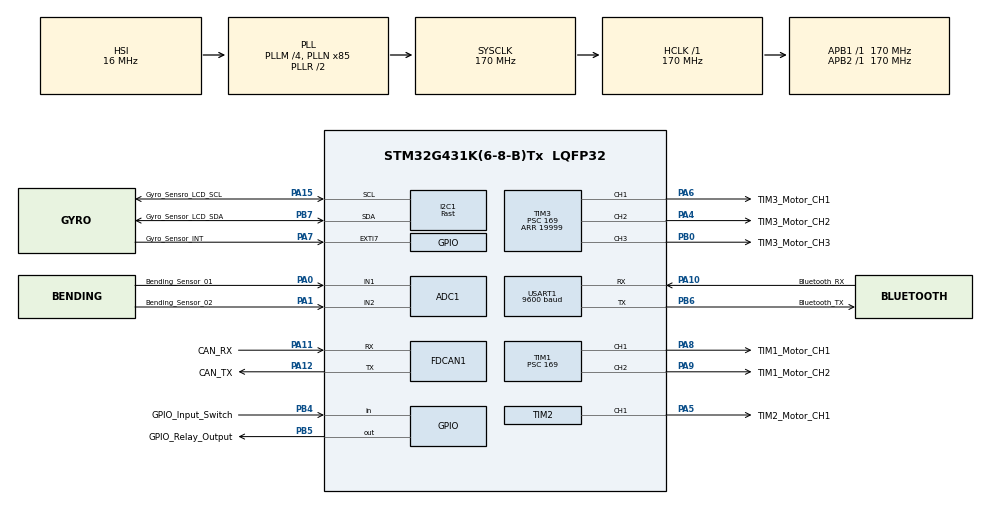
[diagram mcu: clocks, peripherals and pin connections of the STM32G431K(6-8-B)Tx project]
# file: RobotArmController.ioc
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ADC1.Channel-0\#ChannelRegularConversion=ADC_CHANNEL_1
ADC1.Channel-1\#ChannelRegularConversion=ADC_CHANNEL_2
ADC1.ContinuousConvMode=ENABLE
ADC1.DMAContinuousRequests=ENABLE
ADC1.NbrOfConversion=2
ADC1.NbrOfConversionFlag=1
ADC1.OffsetNumber-0\#ChannelRegularConversion=ADC_OFFSET_NONE
ADC1.OffsetNumber-1\#ChannelRegularConversion=ADC_OFFSET_NONE
ADC1.Rank-0\#ChannelRegularConversion=1
ADC1.Rank-1\#ChannelRegularConversion=2
ADC1.SamplingTime-0\#ChannelRegularConversion=ADC_SAMPLETIME_47CYCLES_5
ADC1.SamplingTime-1\#ChannelRegularConversion=ADC_SAMPLETIME_47CYCLES_5
ADC1.master=1
Dma.ADC1.1.Direction=DMA_PERIPH_TO_MEMORY
Dma.ADC1.1.EventEnable=DISABLE
Dma.ADC1.1.Instance=DMA1_Channel2
Dma.ADC1.1.MemDataAlignment=DMA_MDATAALIGN_HALFWORD
Dma.ADC1.1.MemInc=DMA_MINC_ENABLE
Dma.ADC1.1.Mode=DMA_CIRCULAR
Dma.ADC1.1.PeriphDataAlignment=DMA_PDATAALIGN_HALFWORD
Dma.ADC1.1.PeriphInc=DMA_PINC_DISABLE
Dma.ADC1.1.Polarity=HAL_DMAMUX_REQ_GEN_RISING
Dma.ADC1.1.Priority=DMA_PRIORITY_MEDIUM
Dma.ADC1.1.RequestNumber=1
Dma.ADC1.1.SignalID=NONE
Dma.ADC1.1.SyncEnable=DISABLE
Dma.ADC1.1.SyncPolarity=HAL_DMAMUX_SYNC_NO_EVENT
Dma.ADC1.1.SyncRequestNumber=1
Dma.ADC1.1.SyncSignalID=NONE
Dma.I2C1_RX.0.Direction=DMA_PERIPH_TO_MEMORY
Dma.I2C1_RX.0.EventEnable=DISABLE
Dma.I2C1_RX.0.Instance=DMA1_Channel1
Dma.I2C1_RX.0.MemDataAlignment=DMA_MDATAALIGN_BYTE
Dma.I2C1_RX.0.MemInc=DMA_MINC_ENABLE
Dma.I2C1_RX.0.Mode=DMA_NORMAL
Dma.I2C1_RX.0.PeriphDataAlignment=DMA_PDATAALIGN_BYTE
Dma.I2C1_RX.0.PeriphInc=DMA_PINC_DISABLE
Dma.I2C1_RX.0.Polarity=HAL_DMAMUX_REQ_GEN_RISING
Dma.I2C1_RX.0.Priority=DMA_PRIORITY_MEDIUM
Dma.I2C1_RX.0.RequestNumber=1
Dma.I2C1_RX.0.SignalID=NONE
Dma.I2C1_RX.0.SyncEnable=DISABLE
Dma.I2C1_RX.0.SyncPolarity=HAL_DMAMUX_SYNC_NO_EVENT
Dma.I2C1_RX.0.SyncRequestNumber=1
Dma.I2C1_RX.0.SyncSignalID=NONE
Dma.Request0=I2C1_RX
Dma.Request1=ADC1
FDCAN1.AutoRetransmission=ENABLE
FDCAN1.CalculateBaudRateNominal=500000
FDCAN1.CalculateTimeBitNominal=2000
FDCAN1.CalculateTimeQuantumNominal=100.0
FDCAN1.NominalPrescaler=17
FDCAN1.NominalTimeSeg1=9
FDCAN1.NominalTimeSeg2=10
FDCAN1.StdFiltersNbr=2
FREERTOS.BinarySemaphores01=CAN_Sem,Dynamic,NULL,Available;LCD_Sem,Dynamic,NULL,Available;Gyro_Sem,Dynamic,NULL,Available
FREERTOS.INCLUDE_pcTaskGetTaskName=1
FREERTOS.INCLUDE_xSemaphoreGetMutexHolder=1
FREERTOS.Queues01=CAN_Queue,16,uint16_t,0,Dynamic,NULL,NULL;BT_Queue,16,uint16_t,0,Dynamic,NULL,NULL
FREERTOS.Tasks01=defaultTask,24,128,StartDefaultTask,Default,NULL,Dynamic,NULL,NULL;Comm_Task,32,256,StartCommTask,Default,NULL,Dynamic,NULL,NULL;Servo_Task,24,256,StartServoTask,Default,NULL,Dynamic,NULL,NULL;LCD_Task,16,256,StartLCDTask04,Default,NULL,Dynamic,NULL,NULL;Mode_Task,32,128,StartModeTask,Default,NULL,Dynamic,NULL,NULL
FREERTOS.Timers01=TimerOnce,TimerOnce_Callback,osTimerOnce,Default,NULL,Dynamic,NULL;Timer10ms,Timer10ms_Callback,osTimerPeriodic,Default,NULL,Dynamic,NULL;Timer100ms,Timer100ms_Callback,osTimerPeriodic,Default,NULL,Dynamic,NULL
FREERTOS.configCHECK_FOR_STACK_OVERFLOW=2
FREERTOS.configENABLE_FPU=1
FREERTOS.configTOTAL_HEAP_SIZE=8192
FREERTOS.configUSE_NEWLIB_REENTRANT=1
I2C1.I2C_Speed_Mode=I2C_Fast
I2C1.Timing=0x40621236
Mcu.Family=STM32G4
Mcu.Name=STM32G431K(6-8-B)Tx
Mcu.Package=LQFP32
NUCLEO-G431KB.LD2=true
NUCLEO-G431KB.VCP=true
NVIC.ADC1_2_IRQn=true\:5\:0\:false\:false\:true\:true\:true\:true\:true
NVIC.DMA1_Channel1_IRQn=true\:5\:0\:false\:false\:true\:true\:false\:true\:true
NVIC.DMA1_Channel2_IRQn=true\:5\:0\:false\:false\:true\:true\:false\:true\:true
NVIC.EXTI9_5_IRQn=true\:5\:0\:false\:false\:true\:true\:true\:true\:true
NVIC.FDCAN1_IT0_IRQn=true\:5\:0\:false\:false\:true\:true\:true\:true\:true
NVIC.FDCAN1_IT1_IRQn=true\:5\:0\:false\:false\:true\:true\:true\:true\:true
NVIC.I2C1_ER_IRQn=true\:5\:0\:false\:false\:true\:true\:true\:true\:true
NVIC.I2C1_EV_IRQn=true\:5\:0\:false\:false\:true\:true\:true\:true\:true
NVIC.PriorityGroup=NVIC_PRIORITYGROUP_4
NVIC.TIM4_IRQn=true\:15\:0\:false\:false\:true\:false\:false\:true\:true
NVIC.TimeBase=TIM4_IRQn
NVIC.TimeBaseIP=TIM4
NVIC.USART1_IRQn=true\:5\:0\:false\:false\:true\:true\:true\:true\:true
PA0.GPIO_Label=Bending_Sensor_01
PA0.Mode=IN1-Single-Ended
PA0.Signal=ADC1_IN1
PA1.GPIO_Label=Bending_Sensor_02
PA1.Mode=IN2-Single-Ended
PA1.Signal=ADC1_IN2
PA10.GPIO_Label=Bluetooth_RX
PA10.Mode=Asynchronous
PA10.Signal=USART1_RX
PA11.GPIO_Label=CAN_RX
PA11.Mode=FDCAN_Activate
PA11.Signal=FDCAN1_RX
PA12.GPIO_Label=CAN_TX
PA12.Mode=FDCAN_Activate
PA12.Signal=FDCAN1_TX
PA13.GPIO_Label=T_SWDIO
PA13.Mode=Serial_Wire
PA13.Signal=SYS_JTMS-SWDIO
PA14.GPIO_Label=T_SWCLK
PA14.Mode=Serial_Wire
PA14.Signal=SYS_JTCK-SWCLK
PA15.GPIO_Label=Gyro_Sensro_LCD_SCL
PA15.Mode=I2C
PA15.Signal=I2C1_SCL
PA2.Signal=USART2_TX
PA3.Signal=USART2_RX
PA4.GPIO_Label=TIM3_Motor_CH2
PA4.Signal=S_TIM3_CH2
PA5.GPIO_Label=TIM2_Motor_CH1
PA5.Signal=S_TIM2_CH1
PA6.GPIO_Label=TIM3_Motor_CH1
PA6.Signal=S_TIM3_CH1
PA7.GPIO_Label=Gyro_Sensor_INT
PA7.GPIO_ModeDefaultEXTI=GPIO_MODE_IT_RISING
PA7.GPIO_PuPd=GPIO_NOPULL
PA7.Signal=GPXTI7
PA8.GPIO_Label=TIM1_Motor_CH1
PA8.Signal=S_TIM1_CH1
PA9.GPIO_Label=TIM1_Motor_CH2
PA9.Signal=S_TIM1_CH2
PB0.GPIO_Label=TIM3_Motor_CH3
PB0.Signal=S_TIM3_CH3
PB3.GPIO_Label=T_SWO
PB3.Signal=SYS_JTDO-SWO
PB4.GPIO_Label=GPIO_Input_Switch
PB4.GPIO_PuPd=GPIO_PULLUP
PB4.Signal=GPIO_Input
PB5.GPIO_Label=GPIO_Relay_Output
PB5.GPIO_PuPd=GPIO_NOPULL
PB5.GPIO_Speed=GPIO_SPEED_FREQ_LOW
PB5.Signal=GPIO_Output
PB6.GPIO_Label=Bluetooth_TX
PB6.Mode=Asynchronous
PB6.Signal=USART1_TX
PB7.GPIO_Label=Gyro_Sensor_LCD_SDA
PB7.Mode=I2C
PB7.Signal=I2C1_SDA
PF0-OSC_IN.GPIO_Label=Clock_Timing_IN
PF0-OSC_IN.Mode=HSE-External-Oscillator
PF0-OSC_IN.Signal=RCC_OSC_IN
PF1-OSC_OUT.GPIO_Label=Clock_Timing_OUT
PF1-OSC_OUT.Mode=HSE-External-Oscillator
PF1-OSC_OUT.Signal=RCC_OSC_OUT
ProjectManager.HeapSize=0x200
ProjectManager.StackSize=0x400
ProjectManager.TargetToolchain=STM32CubeIDE
RCC.ADC12Freq_Value=170000000
RCC.AHBFreq_Value=170000000
RCC.APB1Freq_Value=170000000
RCC.APB1TimFreq_Value=170000000
RCC.APB2Freq_Value=170000000
RCC.APB2TimFreq_Value=170000000
RCC.CortexFreq_Value=170000000
RCC.EXTERNAL_CLOCK_VALUE=12288000
RCC.HCLKFreq_Value=170000000
RCC.HSE_VALUE=8000000
RCC.HSI48_VALUE=48000000
RCC.HSI_VALUE=16000000
RCC.LSE_VALUE=32768
RCC.PLLM=RCC_PLLM_DIV4
RCC.PLLN=85
RCC.PREFETCH_ENABLE=1
RCC.SYSCLKFreq_VALUE=170000000
RCC.SYSCLKSource=RCC_SYSCLKSOURCE_PLLCLK
RCC.USBFreq_Value=170000000
RCC.VCOOutputFreq_Value=340000000
SH.S_TIM1_CH1.0=TIM1_CH1,PWM Generation1 CH1
SH.S_TIM1_CH2.0=TIM1_CH2,PWM Generation2 CH2
SH.S_TIM2_CH1.0=TIM2_CH1,PWM Generation1 CH1
SH.S_TIM3_CH1.0=TIM3_CH1,PWM Generation1 CH1
SH.S_TIM3_CH2.0=TIM3_CH2,PWM Generation2 CH2
SH.S_TIM3_CH3.0=TIM3_CH3,PWM Generation3 CH3
TIM1.Channel-PWM\ Generation1\ CH1=TIM_CHANNEL_1
TIM1.Channel-PWM\ Generation2\ CH2=TIM_CHANNEL_2
TIM1.PeriodNoDither=19999
TIM1.Prescaler=169
TIM1.PulseNoDither_1=1500
TIM1.PulseNoDither_2=1500
TIM2.Channel-PWM\ Generation1\ CH1=TIM_CHANNEL_1
TIM2.PeriodNoDither=19999
TIM2.Prescaler=169
TIM2.PulseNoDither_1=1500
TIM3.Channel-PWM\ Generation1\ CH1=TIM_CHANNEL_1
TIM3.Channel-PWM\ Generation2\ CH2=TIM_CHANNEL_2
TIM3.Channel-PWM\ Generation3\ CH3=TIM_CHANNEL_3
TIM3.PeriodNoDither=19999
TIM3.Prescaler=169
TIM3.PulseNoDither_1=1500
TIM3.PulseNoDither_2=1500
TIM3.PulseNoDither_3=1500
USART1.BaudRate=9600
USART1.VirtualMode-Asynchronous=VM_ASYNC
VP_FREERTOS_VS_CMSIS_V2.Mode=CMSIS_V2
VP_NUCLEO-G431KB_VS_BSP_COMMON.Mode=COMMON
VP_SYS_VS_DBSignals.Mode=DisableDeadBatterySignals
VP_SYS_VS_tim4.Mode=TIM4
board=NUCLEO-G431KB

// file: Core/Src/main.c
/* USER CODE BEGIN Header */
/**
  ******************************************************************************
  * @file           : main.c
  * @brief          : Main program body
  ******************************************************************************
  * @attention
  *
  * Copyright (c) 2026 STMicroelectronics.
  * All rights reserved.
  *
  * This software is licensed under terms that can be found in the LICENSE file
  * in the root directory of this software component.
  * If no LICENSE file comes with this software, it is provided AS-IS.
  *
  ******************************************************************************
  */
/* USER CODE END Header */
#include "main.h"
#include "cmsis_os.h"

/* USER CODE BEGIN Includes */
#include "comm_can.h"
#include "comm_can_controller.h"
#include "comm_can_robot.h"
#include "readSensor.h"
#include "bt_comm.h"
#include "Comm_Power_Select.h"
#include "debug_comm.h"     /* 릴레이 없이 CAN/BT 테스트 시 사용 (DEBUG_COMM_ENABLE 참고) */
/* USER CODE END Includes */

COM_InitTypeDef BspCOMInit;

ADC_HandleTypeDef hadc1;
DMA_HandleTypeDef hdma_adc1;

FDCAN_HandleTypeDef hfdcan1;

I2C_HandleTypeDef hi2c1;
DMA_HandleTypeDef hdma_i2c1_rx;

TIM_HandleTypeDef htim1;
TIM_HandleTypeDef htim2;
TIM_HandleTypeDef htim3;

UART_HandleTypeDef huart1;

/* Definitions for defaultTask */
osThreadId_t defaultTaskHandle;
const osThreadAttr_t defaultTask_attributes = {
  .name = "defaultTask",
  .priority = (osPriority_t) osPriorityNormal,
  .stack_size = 128 * 4
};
/* Definitions for Comm_Task */
osThreadId_t Comm_TaskHandle;
const osThreadAttr_t Comm_Task_attributes = {
  .name = "Comm_Task",
  .priority = (osPriority_t) osPriorityAboveNormal,
  .stack_size = 256 * 4
};
/* Definitions for Servo_Task */
osThreadId_t Servo_TaskHandle;
const osThreadAttr_t Servo_Task_attributes = {
  .name = "Servo_Task",
  .priority = (osPriority_t) osPriorityNormal,
  .stack_size = 256 * 4
};
/* Definitions for LCD_Task */
osThreadId_t LCD_TaskHandle;
const osThreadAttr_t LCD_Task_attributes = {
  .name = "LCD_Task",
  .priority = (osPriority_t) osPriorityBelowNormal,
  .stack_size = 256 * 4
};
/* Definitions for Mode_Task */
osThreadId_t Mode_TaskHandle;
const osThreadAttr_t Mode_Task_attributes = {
  .name = "Mode_Task",
  .priority = (osPriority_t) osPriorityAboveNormal,
  .stack_size = 512 * 4
};
/* Definitions for CAN_Queue */
osMessageQueueId_t CAN_QueueHandle;
const osMessageQueueAttr_t CAN_Queue_attributes = {
  .name = "CAN_Queue"
};
/* Definitions for BT_Queue */
osMessageQueueId_t BT_QueueHandle;
const osMessageQueueAttr_t BT_Queue_attributes = {
  .name = "BT_Queue"
};
/* Definitions for TimerOnce */
osTimerId_t TimerOnceHandle;
const osTimerAttr_t TimerOnce_attributes = {
  .name = "TimerOnce"
};
/* Definitions for Timer10ms */
osTimerId_t Timer10msHandle;
const osTimerAttr_t Timer10ms_attributes = {
  .name = "Timer10ms"
};
/* Definitions for Timer100ms */
osTimerId_t Timer100msHandle;
const osTimerAttr_t Timer100ms_attributes = {
  .name = "Timer100ms"
};
/* Definitions for CAN_Sem */
osSemaphoreId_t CAN_SemHandle;
const osSemaphoreAttr_t CAN_Sem_attributes = {
  .name = "CAN_Sem"
};
/* Definitions for LCD_Sem */
osSemaphoreId_t LCD_SemHandle;
const osSemaphoreAttr_t LCD_Sem_attributes = {
  .name = "LCD_Sem"
};
/* Definitions for Gyro_Sem */
osSemaphoreId_t Gyro_SemHandle;
const osSemaphoreAttr_t Gyro_Sem_attributes = {
  .name = "Gyro_Sem"
};

void SystemClock_Config(void);
static void MX_GPIO_Init(void);
static void MX_DMA_Init(void);
static void MX_FDCAN1_Init(void);
static void MX_I2C1_Init(void);
static void MX_ADC1_Init(void);
static void MX_USART1_UART_Init(void);
static void MX_TIM1_Init(void);
static void MX_TIM2_Init(void);
static void MX_TIM3_Init(void);
void StartDefaultTask(void *argument);
void StartCommTask(void *argument);
void StartServoTask(void *argument);
void StartLCDTask04(void *argument);
void StartModeTask(void *argument);
void TimerOnce_Callback(void *argument);
void Timer10ms_Callback(void *argument);
void Timer100ms_Callback(void *argument);

int main(void)
{

  /* MCU Configuration--------------------------------------------------------*/

  /* Reset of all peripherals, Initializes the Flash interface and the Systick. */
  HAL_Init();

  /* Configure the system clock */
  SystemClock_Config();

  /* Initialize all configured peripherals */
  MX_GPIO_Init();
  MX_DMA_Init();
  MX_FDCAN1_Init();
  MX_I2C1_Init();
  MX_ADC1_Init();
  MX_USART1_UART_Init();
  MX_TIM1_Init();
  MX_TIM2_Init();
  MX_TIM3_Init();
  /* USER CODE BEGIN 2 */
  /* ── 통신 초기화: 아래 둘 중 하나만 활성화 ──────────────
     [실사용]  릴레이 하드웨어 연결 시
               CommPowerSelect_Init();
     [디버그]  릴레이 없이 CAN/BT 직접 테스트 시
               debug_comm.h에서 DEBUG_COMM_MODE 설정 후 사용
               Debug_Comm_Init();
     ──────────────────────────────────────────────────── */
#if (DEBUG_COMM_ENABLE)
  Debug_Comm_Init();
#else
  CommPowerSelect_Init();
#endif

  ReadSensor_Init();      // ADC DMA 시작, 센서 초기화 (통신 초기화 완료 후 마지막)
  /* USER CODE END 2 */

  /* Init scheduler */
  osKernelInitialize();

  /* Create the semaphores(s) */
  /* creation of CAN_Sem */
  CAN_SemHandle = osSemaphoreNew(1, 1, &CAN_Sem_attributes);

  /* creation of LCD_Sem */
  LCD_SemHandle = osSemaphoreNew(1, 1, &LCD_Sem_attributes);

  /* creation of Gyro_Sem */
  Gyro_SemHandle = osSemaphoreNew(1, 1, &Gyro_Sem_attributes);

  /* Create the timer(s) */
  /* creation of TimerOnce */
  TimerOnceHandle = osTimerNew(TimerOnce_Callback, osTimerOnce, NULL, &TimerOnce_attributes);

  /* creation of Timer10ms */
  Timer10msHandle = osTimerNew(Timer10ms_Callback, osTimerPeriodic, NULL, &Timer10ms_attributes);

  /* creation of Timer100ms */
  Timer100msHandle = osTimerNew(Timer100ms_Callback, osTimerPeriodic, NULL, &Timer100ms_attributes);

  /* USER CODE BEGIN RTOS_TIMERS */
  // TimerOnce: CommPowerSelect_ButtonPressed()에서 디바운스 시 직접 시작
  osTimerStart(Timer10msHandle,  10);   // 10ms 주기 → CAN_Sem → Comm_Task
  osTimerStart(Timer100msHandle, 100);  // 100ms 주기 → LCD_Sem → LCD_Task
  /* USER CODE END RTOS_TIMERS */

  /* Create the queue(s) */
  /* creation of CAN_Queue */
  CAN_QueueHandle = osMessageQueueNew (16, sizeof(uint16_t), &CAN_Queue_attributes);

  /* creation of BT_Queue */
  BT_QueueHandle = osMessageQueueNew (16, sizeof(uint16_t), &BT_Queue_attributes);

  /* Create the thread(s) */
  /* creation of defaultTask */
  defaultTaskHandle = osThreadNew(StartDefaultTask, NULL, &defaultTask_attributes);

  /* creation of Comm_Task */
  Comm_TaskHandle = osThreadNew(StartCommTask, NULL, &Comm_Task_attributes);

  /* creation of Servo_Task */
  Servo_TaskHandle = osThreadNew(StartServoTask, NULL, &Servo_Task_attributes);

  /* creation of LCD_Task */
  LCD_TaskHandle = osThreadNew(StartLCDTask04, NULL, &LCD_Task_attributes);

  /* creation of Mode_Task */
  Mode_TaskHandle = osThreadNew(StartModeTask, NULL, &Mode_Task_attributes);

  /* Initialize leds */
  BSP_LED_Init(LED_GREEN);

  /* Initialize COM1 port (115200, 8 bits (7-bit data + 1 stop bit), no parity */
  BspCOMInit.BaudRate   = 115200;
  BspCOMInit.WordLength = COM_WORDLENGTH_8B;
  BspCOMInit.StopBits   = COM_STOPBITS_1;
  BspCOMInit.Parity     = COM_PARITY_NONE;
  BspCOMInit.HwFlowCtl  = COM_HWCONTROL_NONE;
  if (BSP_COM_Init(COM1, &BspCOMInit) != BSP_ERROR_NONE)
  {
    Error_Handler();
  }

  /* Start scheduler */
  osKernelStart();

  /* We should never get here as control is now taken by the scheduler */

  /* Infinite loop */
  while (1)
  {

  }
}

void SystemClock_Config(void)
{
  RCC_OscInitTypeDef RCC_OscInitStruct = {0};
  RCC_ClkInitTypeDef RCC_ClkInitStruct = {0};

  /** Configure the main internal regulator output voltage
  */
  HAL_PWREx_ControlVoltageScaling(PWR_REGULATOR_VOLTAGE_SCALE1_BOOST);

  /** Initializes the RCC Oscillators according to the specified parameters
  * in the RCC_OscInitTypeDef structure.
  */
  RCC_OscInitStruct.OscillatorType = RCC_OSCILLATORTYPE_HSI;
  RCC_OscInitStruct.HSIState = RCC_HSI_ON;
  RCC_OscInitStruct.HSICalibrationValue = RCC_HSICALIBRATION_DEFAULT;
  RCC_OscInitStruct.PLL.PLLState = RCC_PLL_ON;
  RCC_OscInitStruct.PLL.PLLSource = RCC_PLLSOURCE_HSI;
  RCC_OscInitStruct.PLL.PLLM = RCC_PLLM_DIV4;
  RCC_OscInitStruct.PLL.PLLN = 85;
  RCC_OscInitStruct.PLL.PLLP = RCC_PLLP_DIV2;
  RCC_OscInitStruct.PLL.PLLQ = RCC_PLLQ_DIV2;
  RCC_OscInitStruct.PLL.PLLR = RCC_PLLR_DIV2;
  if (HAL_RCC_OscConfig(&RCC_OscInitStruct) != HAL_OK)
  {
    Error_Handler();
  }

  /** Initializes the CPU, AHB and APB buses clocks
  */
  RCC_ClkInitStruct.ClockType = RCC_CLOCKTYPE_HCLK|RCC_CLOCKTYPE_SYSCLK
                              |RCC_CLOCKTYPE_PCLK1|RCC_CLOCKTYPE_PCLK2;
  RCC_ClkInitStruct.SYSCLKSource = RCC_SYSCLKSOURCE_PLLCLK;
  RCC_ClkInitStruct.AHBCLKDivider = RCC_SYSCLK_DIV1;
  RCC_ClkInitStruct.APB1CLKDivider = RCC_HCLK_DIV1;
  RCC_ClkInitStruct.APB2CLKDivider = RCC_HCLK_DIV1;

  if (HAL_RCC_ClockConfig(&RCC_ClkInitStruct, FLASH_LATENCY_4) != HAL_OK)
  {
    Error_Handler();
  }
}

static void MX_ADC1_Init(void)
{

  ADC_MultiModeTypeDef multimode = {0};
  ADC_ChannelConfTypeDef sConfig = {0};

  /** Common config
  */
  hadc1.Instance = ADC1;
  hadc1.Init.ClockPrescaler = ADC_CLOCK_SYNC_PCLK_DIV4;
  hadc1.Init.Resolution = ADC_RESOLUTION_12B;
  hadc1.Init.DataAlign = ADC_DATAALIGN_RIGHT;
  hadc1.Init.GainCompensation = 0;
  hadc1.Init.ScanConvMode = ADC_SCAN_ENABLE;
  hadc1.Init.EOCSelection = ADC_EOC_SINGLE_CONV;
  hadc1.Init.LowPowerAutoWait = DISABLE;
  hadc1.Init.ContinuousConvMode = ENABLE;
  hadc1.Init.NbrOfConversion = 2;
  hadc1.Init.DiscontinuousConvMode = DISABLE;
  hadc1.Init.ExternalTrigConv = ADC_SOFTWARE_START;
  hadc1.Init.ExternalTrigConvEdge = ADC_EXTERNALTRIGCONVEDGE_NONE;
  hadc1.Init.DMAContinuousRequests = ENABLE;
  hadc1.Init.Overrun = ADC_OVR_DATA_PRESERVED;
  hadc1.Init.OversamplingMode = DISABLE;
  if (HAL_ADC_Init(&hadc1) != HAL_OK)
  {
    Error_Handler();
  }

  /** Configure the ADC multi-mode
  */
  multimode.Mode = ADC_MODE_INDEPENDENT;
  if (HAL_ADCEx_MultiModeConfigChannel(&hadc1, &multimode) != HAL_OK)
  {
    Error_Handler();
  }

  /** Configure Regular Channel
  */
  sConfig.Channel = ADC_CHANNEL_1;
  sConfig.Rank = ADC_REGULAR_RANK_1;
  sConfig.SamplingTime = ADC_SAMPLETIME_47CYCLES_5;
  sConfig.SingleDiff = ADC_SINGLE_ENDED;
  sConfig.OffsetNumber = ADC_OFFSET_NONE;
  sConfig.Offset = 0;
  if (HAL_ADC_ConfigChannel(&hadc1, &sConfig) != HAL_OK)
  {
    Error_Handler();
  }

  /** Configure Regular Channel
  */
  sConfig.Channel = ADC_CHANNEL_2;
  sConfig.Rank = ADC_REGULAR_RANK_2;
  if (HAL_ADC_ConfigChannel(&hadc1, &sConfig) != HAL_OK)
  {
    Error_Handler();
  }

}

static void MX_FDCAN1_Init(void)
{

  hfdcan1.Instance = FDCAN1;
  hfdcan1.Init.ClockDivider = FDCAN_CLOCK_DIV1;
  hfdcan1.Init.FrameFormat = FDCAN_FRAME_CLASSIC;
  hfdcan1.Init.Mode = FDCAN_MODE_NORMAL;
  hfdcan1.Init.AutoRetransmission = ENABLE;
  hfdcan1.Init.TransmitPause = DISABLE;
  hfdcan1.Init.ProtocolException = DISABLE;
  hfdcan1.Init.NominalPrescaler = 17;
  hfdcan1.Init.NominalSyncJumpWidth = 1;
  hfdcan1.Init.NominalTimeSeg1 = 9;
  hfdcan1.Init.NominalTimeSeg2 = 10;
  hfdcan1.Init.DataPrescaler = 1;
  hfdcan1.Init.DataSyncJumpWidth = 1;
  hfdcan1.Init.DataTimeSeg1 = 1;
  hfdcan1.Init.DataTimeSeg2 = 1;
  hfdcan1.Init.StdFiltersNbr = 2;
  hfdcan1.Init.ExtFiltersNbr = 0;
  hfdcan1.Init.TxFifoQueueMode = FDCAN_TX_FIFO_OPERATION;
  if (HAL_FDCAN_Init(&hfdcan1) != HAL_OK)
  {
    Error_Handler();
  }

}

static void MX_I2C1_Init(void)
{

  hi2c1.Instance = I2C1;
  hi2c1.Init.Timing = 0x40621236;
  hi2c1.Init.OwnAddress1 = 0;
  hi2c1.Init.AddressingMode = I2C_ADDRESSINGMODE_7BIT;
  hi2c1.Init.DualAddressMode = I2C_DUALADDRESS_DISABLE;
  hi2c1.Init.OwnAddress2 = 0;
  hi2c1.Init.OwnAddress2Masks = I2C_OA2_NOMASK;
  hi2c1.Init.GeneralCallMode = I2C_GENERALCALL_DISABLE;
  hi2c1.Init.NoStretchMode = I2C_NOSTRETCH_DISABLE;
  if (HAL_I2C_Init(&hi2c1) != HAL_OK)
  {
    Error_Handler();
  }

  /** Configure Analogue filter
  */
  if (HAL_I2CEx_ConfigAnalogFilter(&hi2c1, I2C_ANALOGFILTER_ENABLE) != HAL_OK)
  {
    Error_Handler();
  }

  /** Configure Digital filter
  */
  if (HAL_I2CEx_ConfigDigitalFilter(&hi2c1, 0) != HAL_OK)
  {
    Error_Handler();
  }

}

static void MX_TIM1_Init(void)
{

  TIM_MasterConfigTypeDef sMasterConfig = {0};
  TIM_OC_InitTypeDef sConfigOC = {0};
  TIM_BreakDeadTimeConfigTypeDef sBreakDeadTimeConfig = {0};

  htim1.Instance = TIM1;
  htim1.Init.Prescaler = 169;
  htim1.Init.CounterMode = TIM_COUNTERMODE_UP;
  htim1.Init.Period = 19999;
  htim1.Init.ClockDivision = TIM_CLOCKDIVISION_DIV1;
  htim1.Init.RepetitionCounter = 0;
  htim1.Init.AutoReloadPreload = TIM_AUTORELOAD_PRELOAD_DISABLE;
  if (HAL_TIM_PWM_Init(&htim1) != HAL_OK)
  {
    Error_Handler();
  }
  sMasterConfig.MasterOutputTrigger = TIM_TRGO_RESET;
  sMasterConfig.MasterOutputTrigger2 = TIM_TRGO2_RESET;
  sMasterConfig.MasterSlaveMode = TIM_MASTERSLAVEMODE_DISABLE;
  if (HAL_TIMEx_MasterConfigSynchronization(&htim1, &sMasterConfig) != HAL_OK)
  {
    Error_Handler();
  }
  sConfigOC.OCMode = TIM_OCMODE_PWM1;
  sConfigOC.Pulse = 1500;
  sConfigOC.OCPolarity = TIM_OCPOLARITY_HIGH;
  sConfigOC.OCNPolarity = TIM_OCNPOLARITY_HIGH;
  sConfigOC.OCFastMode = TIM_OCFAST_DISABLE;
  sConfigOC.OCIdleState = TIM_OCIDLESTATE_RESET;
  sConfigOC.OCNIdleState = TIM_OCNIDLESTATE_RESET;
  if (HAL_TIM_PWM_ConfigChannel(&htim1, &sConfigOC, TIM_CHANNEL_1) != HAL_OK)
  {
    Error_Handler();
  }
  if (HAL_TIM_PWM_ConfigChannel(&htim1, &sConfigOC, TIM_CHANNEL_2) != HAL_OK)
  {
    Error_Handler();
  }
  sBreakDeadTimeConfig.OffStateRunMode = TIM_OSSR_DISABLE;
  sBreakDeadTimeConfig.OffStateIDLEMode = TIM_OSSI_DISABLE;
  sBreakDeadTimeConfig.LockLevel = TIM_LOCKLEVEL_OFF;
  sBreakDeadTimeConfig.DeadTime = 0;
  sBreakDeadTimeConfig.BreakState = TIM_BREAK_DISABLE;
  sBreakDeadTimeConfig.BreakPolarity = TIM_BREAKPOLARITY_HIGH;
  sBreakDeadTimeConfig.BreakFilter = 0;
  sBreakDeadTimeConfig.BreakAFMode = TIM_BREAK_AFMODE_INPUT;
  sBreakDeadTimeConfig.Break2State = TIM_BREAK2_DISABLE;
  sBreakDeadTimeConfig.Break2Polarity = TIM_BREAK2POLARITY_HIGH;
  sBreakDeadTimeConfig.Break2Filter = 0;
  sBreakDeadTimeConfig.Break2AFMode = TIM_BREAK_AFMODE_INPUT;
  sBreakDeadTimeConfig.AutomaticOutput = TIM_AUTOMATICOUTPUT_DISABLE;
  if (HAL_TIMEx_ConfigBreakDeadTime(&htim1, &sBreakDeadTimeConfig) != HAL_OK)
  {
    Error_Handler();
  }
  HAL_TIM_MspPostInit(&htim1);

}

static void MX_TIM2_Init(void)
{

  TIM_MasterConfigTypeDef sMasterConfig = {0};
  TIM_OC_InitTypeDef sConfigOC = {0};

  htim2.Instance = TIM2;
  htim2.Init.Prescaler = 169;
  htim2.Init.CounterMode = TIM_COUNTERMODE_UP;
  htim2.Init.Period = 19999;
  htim2.Init.ClockDivision = TIM_CLOCKDIVISION_DIV1;
  htim2.Init.AutoReloadPreload = TIM_AUTORELOAD_PRELOAD_DISABLE;
  if (HAL_TIM_PWM_Init(&htim2) != HAL_OK)
  {
    Error_Handler();
  }
  sMasterConfig.MasterOutputTrigger = TIM_TRGO_RESET;
  sMasterConfig.MasterSlaveMode = TIM_MASTERSLAVEMODE_DISABLE;
  if (HAL_TIMEx_MasterConfigSynchronization(&htim2, &sMasterConfig) != HAL_OK)
  {
    Error_Handler();
  }
  sConfigOC.OCMode = TIM_OCMODE_PWM1;
  sConfigOC.Pulse = 1500;
  sConfigOC.OCPolarity = TIM_OCPOLARITY_HIGH;
  sConfigOC.OCFastMode = TIM_OCFAST_DISABLE;
  if (HAL_TIM_PWM_ConfigChannel(&htim2, &sConfigOC, TIM_CHANNEL_1) != HAL_OK)
  {
    Error_Handler();
  }
  HAL_TIM_MspPostInit(&htim2);

}

static void MX_TIM3_Init(void)
{

  TIM_MasterConfigTypeDef sMasterConfig = {0};
  TIM_OC_InitTypeDef sConfigOC = {0};

  htim3.Instance = TIM3;
  htim3.Init.Prescaler = 169;
  htim3.Init.CounterMode = TIM_COUNTERMODE_UP;
  htim3.Init.Period = 19999;
  htim3.Init.ClockDivision = TIM_CLOCKDIVISION_DIV1;
  htim3.Init.AutoReloadPreload = TIM_AUTORELOAD_PRELOAD_DISABLE;
  if (HAL_TIM_PWM_Init(&htim3) != HAL_OK)
  {
    Error_Handler();
  }
  sMasterConfig.MasterOutputTrigger = TIM_TRGO_RESET;
  sMasterConfig.MasterSlaveMode = TIM_MASTERSLAVEMODE_DISABLE;
  if (HAL_TIMEx_MasterConfigSynchronization(&htim3, &sMasterConfig) != HAL_OK)
  {
    Error_Handler();
  }
  sConfigOC.OCMode = TIM_OCMODE_PWM1;
  sConfigOC.Pulse = 1500;
  sConfigOC.OCPolarity = TIM_OCPOLARITY_HIGH;
  sConfigOC.OCFastMode = TIM_OCFAST_DISABLE;
  if (HAL_TIM_PWM_ConfigChannel(&htim3, &sConfigOC, TIM_CHANNEL_1) != HAL_OK)
  {
    Error_Handler();
  }
  if (HAL_TIM_PWM_ConfigChannel(&htim3, &sConfigOC, TIM_CHANNEL_2) != HAL_OK)
  {
    Error_Handler();
  }
  if (HAL_TIM_PWM_ConfigChannel(&htim3, &sConfigOC, TIM_CHANNEL_3) != HAL_OK)
  {
    Error_Handler();
  }
  HAL_TIM_MspPostInit(&htim3);

}

static void MX_USART1_UART_Init(void)
{

  huart1.Instance = USART1;
  huart1.Init.BaudRate = 9600;
  huart1.Init.WordLength = UART_WORDLENGTH_8B;
  huart1.Init.StopBits = UART_STOPBITS_1;
  huart1.Init.Parity = UART_PARITY_NONE;
  huart1.Init.Mode = UART_MODE_TX_RX;
  huart1.Init.HwFlowCtl = UART_HWCONTROL_NONE;
  huart1.Init.OverSampling = UART_OVERSAMPLING_16;
  huart1.Init.OneBitSampling = UART_ONE_BIT_SAMPLE_DISABLE;
  huart1.Init.ClockPrescaler = UART_PRESCALER_DIV1;
  huart1.AdvancedInit.AdvFeatureInit = UART_ADVFEATURE_NO_INIT;
  if (HAL_UART_Init(&huart1) != HAL_OK)
  {
    Error_Handler();
  }
  if (HAL_UARTEx_SetTxFifoThreshold(&huart1, UART_TXFIFO_THRESHOLD_1_8) != HAL_OK)
  {
    Error_Handler();
  }
  if (HAL_UARTEx_SetRxFifoThreshold(&huart1, UART_RXFIFO_THRESHOLD_1_8) != HAL_OK)
  {
    Error_Handler();
  }
  if (HAL_UARTEx_DisableFifoMode(&huart1) != HAL_OK)
  {
    Error_Handler();
  }

}

static void MX_DMA_Init(void)
{

  /* DMA controller clock enable */
  __HAL_RCC_DMAMUX1_CLK_ENABLE();
  __HAL_RCC_DMA1_CLK_ENABLE();

  /* DMA interrupt init */
  /* DMA1_Channel1_IRQn interrupt configuration */
  HAL_NVIC_SetPriority(DMA1_Channel1_IRQn, 5, 0);
  HAL_NVIC_EnableIRQ(DMA1_Channel1_IRQn);
  /* DMA1_Channel2_IRQn interrupt configuration */
  HAL_NVIC_SetPriority(DMA1_Channel2_IRQn, 5, 0);
  HAL_NVIC_EnableIRQ(DMA1_Channel2_IRQn);

}

static void MX_GPIO_Init(void)
{
  GPIO_InitTypeDef GPIO_InitStruct = {0};

  /* GPIO Ports Clock Enable */
  __HAL_RCC_GPIOF_CLK_ENABLE();
  __HAL_RCC_GPIOA_CLK_ENABLE();
  __HAL_RCC_GPIOB_CLK_ENABLE();

  /*Configure GPIO pin Output Level */
  HAL_GPIO_WritePin(GPIO_Relay_Output_GPIO_Port, GPIO_Relay_Output_Pin, GPIO_PIN_RESET);

  /*Configure GPIO pin : Gyro_Sensor_INT_Pin */
  GPIO_InitStruct.Pin = Gyro_Sensor_INT_Pin;
  GPIO_InitStruct.Mode = GPIO_MODE_IT_RISING;
  GPIO_InitStruct.Pull = GPIO_NOPULL;
  HAL_GPIO_Init(Gyro_Sensor_INT_GPIO_Port, &GPIO_InitStruct);

  /*Configure GPIO pin : GPIO_Input_Switch_Pin */
  GPIO_InitStruct.Pin = GPIO_Input_Switch_Pin;
  GPIO_InitStruct.Mode = GPIO_MODE_INPUT;
  GPIO_InitStruct.Pull = GPIO_PULLUP;
  HAL_GPIO_Init(GPIO_Input_Switch_GPIO_Port, &GPIO_InitStruct);

  /*Configure GPIO pin : GPIO_Relay_Output_Pin */
  GPIO_InitStruct.Pin = GPIO_Relay_Output_Pin;
  GPIO_InitStruct.Mode = GPIO_MODE_OUTPUT_PP;
  GPIO_InitStruct.Pull = GPIO_NOPULL;
  GPIO_InitStruct.Speed = GPIO_SPEED_FREQ_LOW;
  HAL_GPIO_Init(GPIO_Relay_Output_GPIO_Port, &GPIO_InitStruct);

  /* EXTI interrupt init*/
  HAL_NVIC_SetPriority(EXTI9_5_IRQn, 5, 0);
  HAL_NVIC_EnableIRQ(EXTI9_5_IRQn);

}

/* USER CODE BEGIN 4 */
void HAL_GPIO_EXTI_Callback(uint16_t GPIO_Pin)
{
    if (GPIO_Pin == GPIO_Input_Switch_Pin)
        CommPowerSelect_ButtonPressed();
}
/* USER CODE END 4 */

void StartDefaultTask(void *argument)
{
  for(;;)
  {
    osDelay(1);
  }
}

void StartCommTask(void *argument)
{
  /* USER CODE BEGIN StartCommTask */
    uint8_t cnt100ms = 0;

    for(;;)
    {
        /* 10ms마다 Timer10ms_Callback이 release */
        osSemaphoreAcquire(CAN_SemHandle, osWaitForever);

        /* ── 10ms: 센서 읽기 (항상 실행) ──────────────────── */
        ReadSensor_Update_10ms();

        /* ── 10ms: 통신 모드별 송신 ────────────────────────── */
#if (!ProjModeState)
        /* 리모콘 보드 */
        if (currentCommMode == COMM_MODE_CAN) {
            Controller_CAN_TX_Sensor();
        } else if (currentCommMode == COMM_MODE_BT) {
            BT_Pack_And_Send(BT_ID_REMOTE_SENSOR,
                             (uint8_t *)&remoteSensorTx, sizeof(remoteSensorTx));
        }

#else
        /* 로봇팔 보드 — CAN 모드는 수신만, BT 모드는 패킷 수신 후 큐 전달 */
        if (currentCommMode == COMM_MODE_BT) {
            BT_Packet_t pkt;
            if (BT_Receive_Packet(&pkt)) {
                if (pkt.id == BT_ID_REMOTE_SENSOR) {
                    /* 수신된 센서값 → 모터 PWM 변환은 Servo_Task에서 처리 */
                    /* 여기선 큐에 전달 */
                    osMessageQueuePut(BT_QueueHandle, &pkt, 0, 0);
                }
            }
        }
#endif

        /* ── 100ms: 상태 송신 (10틱마다 1회) ──────────────── */
        if (++cnt100ms >= 10) {
            cnt100ms = 0;

#if (!ProjModeState)
            /* 리모콘 보드 — CAN만 상태 송신, BT는 없음 */
            if (currentCommMode == COMM_MODE_CAN) {
                Controller_CAN_TX_Status();
            }
#else
            /* 로봇팔 보드 */
            if (currentCommMode == COMM_MODE_CAN) {
                Robot_CAN_TX_Status();
            }
#endif
        }
    }
  /* USER CODE END StartCommTask */
}

void StartServoTask(void *argument)
{
  for(;;)
  {
    osDelay(1);
  }
}

void StartLCDTask04(void *argument)
{
  /* USER CODE BEGIN StartLCDTask04 */
  for(;;)
  {
    osSemaphoreAcquire(LCD_SemHandle, osWaitForever);  // Timer100ms_Callback이 100ms마다 release
    // LCD 표시 (추후 구현)
  }
  /* USER CODE END StartLCDTask04 */
}

void StartModeTask(void *argument)
{
  /* USER CODE BEGIN StartModeTask */
  /* Infinite loop */
  for(;;)
  {
      CommPowerSelect_Apply();          /* 버튼 전환 요청 처리 */
      ReadSensor_Update_100ms();        /* 릴레이/센서 상태 갱신 */
      BT_ConnectionMonitor_100ms();     /* BT 수신 타임아웃 감지 */
#if (DEBUG_COMM_ENABLE)
      Debug_Comm_Poll();                /* Live Expression에서 g_debug_comm_mode 변경 시 자동 전환 */
#endif
      osDelay(100);
  }
  /* USER CODE END StartModeTask */
}

/* TimerOnce_Callback function */
void TimerOnce_Callback(void *argument)
{
  /* USER CODE BEGIN TimerOnce_Callback */
    CommPowerSelect_DebounceExpired();
  /* USER CODE END TimerOnce_Callback */
}

/* Timer10ms_Callback function */
void Timer10ms_Callback(void *argument)
{
  /* USER CODE BEGIN Timer10ms_Callback */
  osSemaphoreRelease(CAN_SemHandle);
  /* USER CODE END Timer10ms_Callback */
}

/* Timer100ms_Callback function */
void Timer100ms_Callback(void *argument)
{
  /* USER CODE BEGIN Timer100ms_Callback */
  osSemaphoreRelease(LCD_SemHandle);
  /* USER CODE END Timer100ms_Callback */
}

void HAL_TIM_PeriodElapsedCallback(TIM_HandleTypeDef *htim)
{
  if (htim->Instance == TIM4)
  {
    HAL_IncTick();
  }
}
/* USER CODE BEGIN Header */
/**
  ******************************************************************************
  * @file           : main.c
  * @brief          : Main program body
  ******************************************************************************
  * @attention
  *
  * Copyright (c) 2026 STMicroelectronics.
  * All rights reserved.
  *
  * This software is licensed under terms that can be found in the LICENSE file
  * in the root directory of this software component.
  * If no LICENSE file comes with this software, it is provided AS-IS.
  *
  ******************************************************************************
  */
/* USER CODE END Header */

void Error_Handler(void)
{
  __disable_irq();
  while (1)
  {
  }
}
